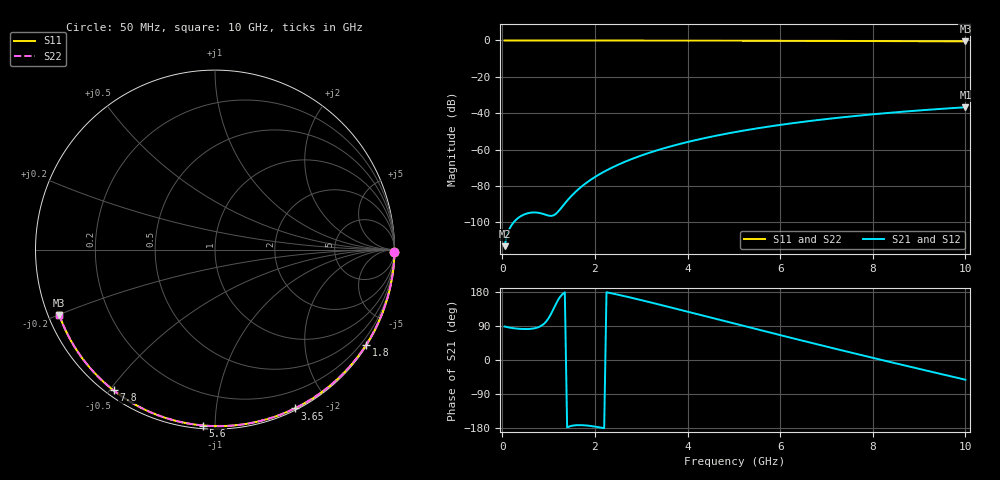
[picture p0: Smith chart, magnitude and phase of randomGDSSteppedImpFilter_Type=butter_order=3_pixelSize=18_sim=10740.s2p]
! freq	dB(S11)	phase(S11)	dB(S12)	phase(S12)
!  dB(S21)	phase(S21)	dB(S22)	phase(S22)
!S-par simulation data
#  GHz  S  DB  R 50
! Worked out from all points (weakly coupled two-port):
!   200 points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, 50 MHz to 10 GHz, reference 50 ohm
!   highest |S21| = -36.76 dB at 10 GHz (marker M1); lowest = -113.2 dB at 50 MHz (marker M2)
!   lowest |S11| = -0.5 dB at 10 GHz (marker M3), VSWR 32.88, Z = 1.58 - j10.1 ohm
!   |S11| at or under -10 dB: nowhere
!   |S22| runs from -0.5 to 0.0 dB; largest |S21 - S12| = 0
!   S11 on the Smith chart (normalised r, x): 50 MHz: open; 1.8 GHz: 0.03, -3.47; 3.65 GHz: 0.02, -1.62; 5.6 GHz: 0.02, -0.94; 7.8 GHz: 0.02, -0.51; 10 GHz: 0.03, -0.20
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0.05  -0.00 -0.9  -113.17 88.4  -113.17 88.4  -0.00 -0.9
0.45  -0.01 -8.2  -95.98 81.8  -95.98 81.8  -0.01 -8.2
0.9  -0.02 -16.2  -95.57 95.6  -95.57 95.6  -0.02 -16.2
1.7  -0.04 -30.4  -80.62 -171.9  -80.62 -171.9  -0.04 -30.4
1.75  -0.04 -31.2  -79.60 -172.2  -79.60 -172.2  -0.04 -31.2
1.8  -0.04 -32.1  -78.62 -172.6  -78.62 -172.6  -0.04 -32.1
1.95  -0.04 -34.7  -75.95 -174.8  -75.95 -174.8  -0.04 -34.7
2.1  -0.05 -37.3  -73.60 -177.7  -73.60 -177.7  -0.05 -37.3
2.3  -0.05 -40.8  -70.83 177.6  -70.83 177.6  -0.05 -40.8
2.5  -0.06 -44.2  -68.39 172.3  -68.39 172.3  -0.06 -44.2
2.9  -0.07 -51.0  -64.23 161.0  -64.23 161.0  -0.07 -51.0
3.4  -0.08 -59.3  -59.99 146.0  -59.99 146.0  -0.08 -59.3
3.65  -0.09 -63.4  -58.17 138.3  -58.17 138.3  -0.09 -63.4
4.3  -0.11 -73.8  -54.10 118.2  -54.10 118.2  -0.10 -73.8
5.05  -0.13 -85.5  -50.30 94.9  -50.30 94.9  -0.13 -85.5
5.6  -0.16 -93.8  -47.96 77.9  -47.96 77.9  -0.16 -93.8
6.15  -0.18 -102.0  -45.92 61.1  -45.92 61.1  -0.18 -102.0
6.7  -0.22 -110.0  -44.12 44.4  -44.12 44.4  -0.22 -110.0
7.8  -0.29 -125.8  -41.10 11.6  -41.10 11.6  -0.29 -125.8
8.35  -0.34 -133.6  -39.83 -4.5  -39.83 -4.5  -0.34 -133.5
9.2  -0.43 -145.6  -38.12 -29.2  -38.12 -29.2  -0.43 -145.6
10  -0.53 -157.2  -36.76 -52.0  -36.76 -52.0  -0.53 -157.2
